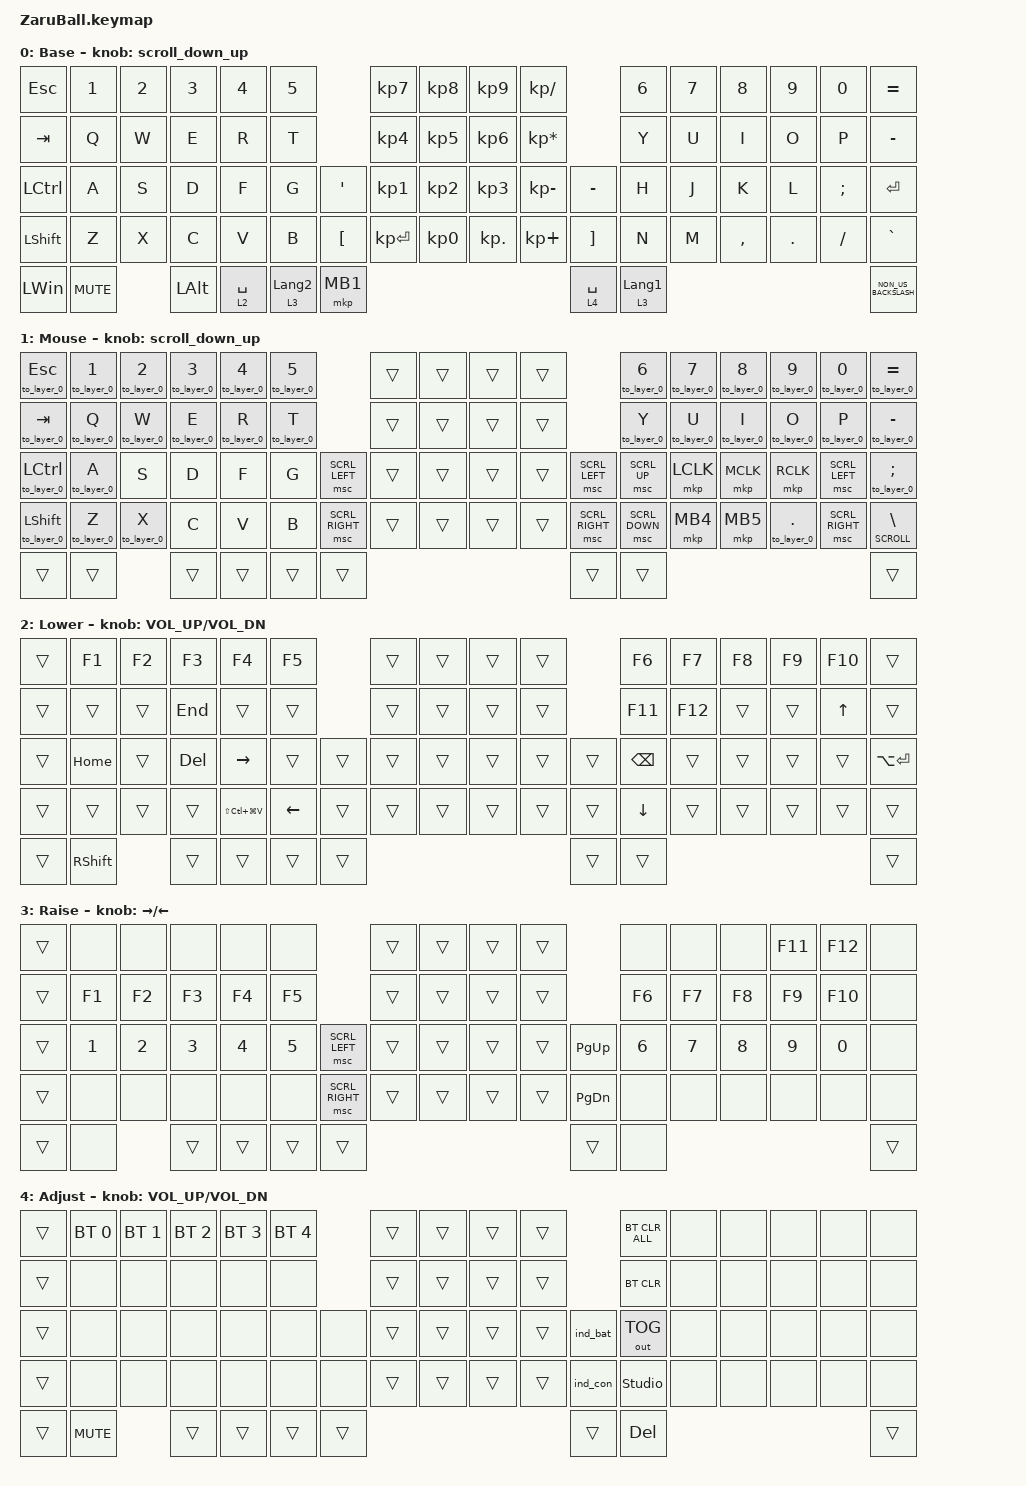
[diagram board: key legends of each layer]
//#include <dt-bindings/zmk/mouse.h>

#include <behaviors/rgbled_widget.dtsi>
#include <behaviors/naginata.dtsi>
#include <behaviors.dtsi>
#include <dt-bindings/zmk/bt.h>
#include <dt-bindings/zmk/keys.h>
#include <dt-bindings/zmk/outputs.h>
#include <dt-bindings/zmk/pointing.h>

#define BASE     0
#define MOUSE    1
#define LOWER    2
#define RAISE    3
#define ADJUST   4
#define SCROLL   2

// スクロール量の設定

#define ZMK_POINTING_DEFAULT_SCRL_VAL 100

/ {
    conditional_layers { compatible = "zmk,conditional-layers"; };
};

/ {
    behaviors {
        // スクロール用のbehaviorの設定

        scroll_down_up: behavior_sensor_rotate_mouse_wheel_down_up {
            compatible = "zmk,behavior-sensor-rotate";
            #sensor-binding-cells = <0>;
            bindings = <&msc SCRL_DOWN>, <&msc SCRL_UP>;

            tap-ms = <20>; // スクロールのタップ時間
        };

        td0: tap_dance_0 {
            compatible = "zmk,behavior-tap-dance";
            #binding-cells = <0>;
            tapping-term-ms = <200>;
            bindings = <&mt LALT LANG2>, <&mo RAISE>, <&mo MOUSE>;
        };

        td1: tap_dance_1 {
            compatible = "zmk,behavior-tap-dance";
            #binding-cells = <0>;
            tapping-term-ms = <200>;
            bindings = <&mt RCTL LANG1>, <&mo RAISE>, <&mo MOUSE>;
        };

        // Customed Hold-Tap for SandS

        SandS: SandS {
            compatible = "zmk,behavior-hold-tap";
            #binding-cells = <2>;
            flavor = "tap-unless-interrupted";
            tapping-term-ms = <500>;
            quick-tap-ms = <500>;
            bindings = <&kp>, <&kp>;

            display-name = "SandS";
        };
    };
};

&sl { release-after-ms = <250>; }; // time needed for double click (for mkp_exit_AML)
/ {
    macros {
        // When in AML, move to default layer when key (except mouse button) pressed

        to_layer_0: to_layer_0 {
            compatible = "zmk,behavior-macro-one-param";
            #binding-cells = <1>;
            bindings = <&tog MOUSE &macro_param_1to1 &kp MACRO_PLACEHOLDER>;
            label = "TO_layer_0";
        };

        // When LCLK pressed, exit AML (after 250ms cause by sticky layer

        mkp_exit_AML: mkp_exit_AML {
            compatible = "zmk,behavior-macro-one-param";
            #binding-cells = <1>;
            bindings =
                <&macro_press>,
                <&macro_param_1to1 &mkp MACRO_PLACEHOLDER>,
                <&macro_pause_for_release>,
                <&macro_release>,
                <&macro_param_1to1 &mkp MACRO_PLACEHOLDER>,
                <&macro_tap>,
                <&sl MOUSE>;

            label = "MKP_EXIT_AML";
        };
    };
};

/ {
    keymap {
        compatible = "zmk,keymap";

        base_layer {
            display-name = "Base";
            sensor-bindings = <&scroll_down_up>;
            bindings = <
&kp ESC           &kp N1      &kp N2  &kp N3        &kp N4       &kp N5                                &kp KP_N7     &kp KP_N8  &kp KP_N9   &kp KP_DIVIDE                   &kp NUMBER_6      &kp N7  &kp N8     &kp N9   &kp N0    &kp EQUAL
&kp TAB           &kp Q       &kp W   &kp E         &kp R        &kp T                                 &kp KP_N4     &kp KP_N5  &kp KP_N6   &kp KP_MULTIPLY                 &kp Y             &kp U   &kp I      &kp O    &kp P     &kp MINUS
&kp LEFT_CONTROL  &kp A       &kp S   &kp D         &kp F        &kp G             &kp SQT             &kp KP_N1     &kp KP_N2  &kp KP_N3   &kp KP_MINUS       &kp MINUS    &kp H             &kp J   &kp K      &kp L    &kp SEMI  &kp ENTER
&kp LSHFT         &kp Z       &kp X   &kp C         &kp V        &kp B             &kp LEFT_BRACKET    &kp KP_ENTER  &kp KP_N0  &kp KP_DOT  &kp KP_PLUS        &kp RBKT     &kp N             &kp M   &kp COMMA  &kp DOT  &kp FSLH  &kp GRAVE
&kp LEFT_WIN      &kp C_MUTE          &kp LEFT_ALT  &lt 2 SPACE  &lt 3 LANGUAGE_2  &mkp MB1                                                                    &lt 4 SPACE  &lt 3 LANGUAGE_1                                        &kp NON_US_BACKSLASH
            >;
        };

        mouse_layer {
            display-name = "Mouse";
            sensor-bindings = <&scroll_down_up>;
            bindings = <
&to_layer_0 ESC           &to_layer_0 N1  &to_layer_0 N2  &to_layer_0 N3  &to_layer_0 N4  &to_layer_0 N5                     &trans  &trans  &trans  &trans                     &to_layer_0 N6  &to_layer_0 N7  &to_layer_0 N8  &to_layer_0 N9      &to_layer_0 N0   &to_layer_0 EQUAL
&to_layer_0 TAB           &to_layer_0 Q   &to_layer_0 W   &to_layer_0 E   &to_layer_0 R   &to_layer_0 T                      &trans  &trans  &trans  &trans                     &to_layer_0 Y   &to_layer_0 U   &to_layer_0 I   &to_layer_0 O       &to_layer_0 P    &to_layer_0 MINUS
&to_layer_0 LEFT_CONTROL  &to_layer_0 A   &kp S           &kp D           &kp F           &kp G           &msc SCRL_LEFT     &trans  &trans  &trans  &trans    &msc SCRL_LEFT   &msc SCRL_UP    &mkp LCLK       &mkp MCLK       &mkp RCLK           &msc SCRL_LEFT   &to_layer_0 SEMICOLON
&to_layer_0 LSHIFT        &to_layer_0 Z   &to_layer_0 X   &kp C           &kp V           &kp B           &msc SCRL_RIGHT    &trans  &trans  &trans  &trans    &msc SCRL_RIGHT  &msc SCRL_DOWN  &mkp MB4        &mkp MB5        &to_layer_0 PERIOD  &msc SCRL_RIGHT  &lt SCROLL BACKSLASH
&trans                    &trans                          &trans          &trans          &trans          &trans                                               &trans           &trans                                                                               &trans
            >;
        };

        lower_layer {
            display-name = "Lower";
            sensor-bindings = <&inc_dec_kp C_VOL_UP C_VOL_DN>;
            bindings = <
&trans  &kp F1     &kp F2  &kp F3      &kp F4             &kp F5                    &trans  &trans  &trans  &trans            &kp F6         &kp F7   &kp F8  &kp F9  &kp F10       &trans
&trans  &trans     &trans  &kp END     &trans             &trans                    &trans  &trans  &trans  &trans            &kp F11        &kp F12  &trans  &trans  &kp UP_ARROW  &trans
&trans  &kp HOME   &trans  &kp DELETE  &kp RIGHT          &trans          &trans    &trans  &trans  &trans  &trans    &trans  &kp BACKSPACE  &trans   &trans  &trans  &trans        &kp LA(ENTER)
&trans  &trans     &trans  &trans      &kp LS(LC(LG(V)))  &kp LEFT_ARROW  &trans    &trans  &trans  &trans  &trans    &trans  &kp DOWN       &trans   &trans  &trans  &trans        &trans
&trans  &kp RSHFT          &trans      &trans             &trans          &trans                                      &trans  &trans                                                &trans
            >;
        };

        raise_layer {
            display-name = "Raise";
            sensor-bindings = <&inc_dec_kp RIGHT LEFT>;
            bindings = <
&trans  &none         &none         &none         &none         &none                      &trans  &trans  &trans  &trans               &none         &none   &none   &kp F11  &kp F12       &none
&trans  &kp F1        &kp F2        &kp F3        &kp F4        &kp F5                     &trans  &trans  &trans  &trans               &kp F6        &kp F7  &kp F8  &kp F9   &kp F10       &none
&trans  &kp NUMBER_1  &kp NUMBER_2  &kp NUMBER_3  &kp NUMBER_4  &kp N5  &msc SCRL_LEFT     &trans  &trans  &trans  &trans    &kp PG_UP  &kp NUMBER_6  &kp N7  &kp N8  &kp N9   &kp NUMBER_0  &none
&trans  &none         &none         &none         &none         &none   &msc SCRL_RIGHT    &trans  &trans  &trans  &trans    &kp PG_DN  &none         &none   &none   &none    &none         &none
&trans  &none                       &trans        &trans        &trans  &trans                                               &trans     &none                                                &trans
            >;
        };

        adjust_layer {
            display-name = "Adjust";
            sensor-bindings = <&inc_dec_kp C_VOL_UP C_VOL_DN>;
            bindings = <
&trans  &bt BT_SEL 0  &bt BT_SEL 1  &bt BT_SEL 2  &bt BT_SEL 3  &bt BT_SEL 4            &trans  &trans  &trans  &trans              &bt BT_CLR_ALL  &none  &none  &none  &none  &none
&trans  &none         &none         &none         &none         &none                   &trans  &trans  &trans  &trans              &bt BT_CLR      &none  &none  &none  &none  &none
&trans  &none         &none         &none         &none         &none         &none     &trans  &trans  &trans  &trans    &ind_bat  &out OUT_TOG    &none  &none  &none  &none  &none
&trans  &none         &none         &none         &none         &none         &none     &trans  &trans  &trans  &trans    &ind_con  &studio_unlock  &none  &none  &none  &none  &none
&trans  &kp C_MUTE                  &trans        &trans        &trans        &trans                                      &trans    &kp DEL                                     &trans
            >;
        };

        // Extra layer can be added in ZMK STUDIO

        extra1 { status = "reserved"; };

        extra2 { status = "reserved"; };
    };
};
